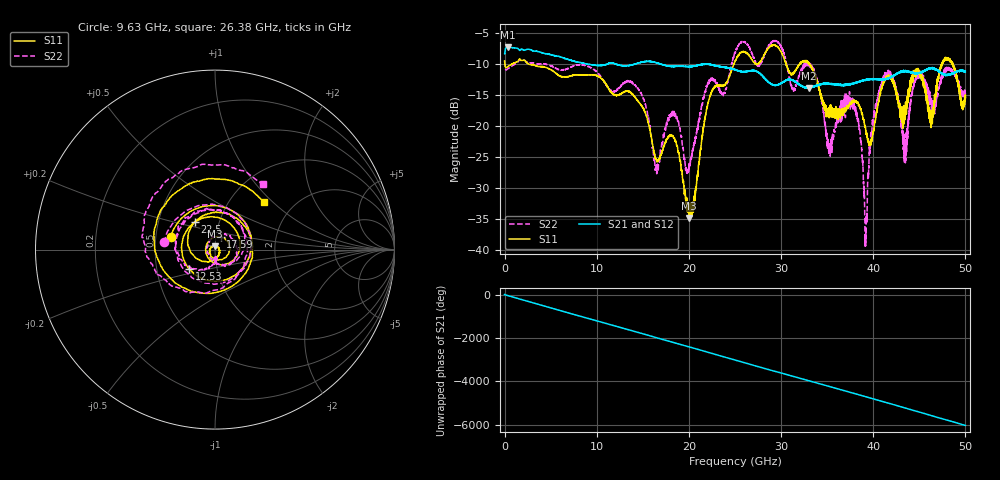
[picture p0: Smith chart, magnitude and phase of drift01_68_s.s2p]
!Created with skrf (http://scikit-rf.org).
# Hz S RI R 50.0
!freq ReS11 ImS11 ReS21 ImS21 ReS12 ImS12 ReS22 ImS22
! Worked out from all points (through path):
!   10001 points, 300 kHz to 50 GHz, reference 50 ohm
!   highest |S21| = -7.33 dB at 325.3 MHz (marker M1); lowest = -14.0 dB at 33.02 GHz (marker M2)
!   group delay of S21, straight-line fit = 335 ps
!   lowest |S11| = -34.9 dB at 20.01 GHz (marker M3), VSWR 1.04, Z = 50 + j1.81 ohm
!   |S11| at or under -10 dB: 2.555 GHz to 24.9 GHz (22.35 GHz wide, 163 % of centre); 30.53 GHz to 32.02 GHz (1.487 GHz wide, 4.76 % of centre); 33.07 GHz to 47.44 GHz (14.37 GHz wide, 35.7 % of centre) (the widest 3 of 21)
!   |S22| runs from -39.4 to -6.3 dB; largest |S21 - S12| = 0.011
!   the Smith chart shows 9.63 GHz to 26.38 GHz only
!   S11 on the Smith chart (normalised r, x): 9.63 GHz: 0.60, +0.09; 12.53 GHz: 0.73, -0.16; 17.59 GHz: 1.05, +0.15; 22.5 GHz: 0.76, +0.24; 26.38 GHz: 1.42, +0.88
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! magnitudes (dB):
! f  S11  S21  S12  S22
! 300 kHz  -9.5  -8.4  -8.5  -9.5
! 325.3 MHz  -10.5  -7.3  -7.3  -10.9
! 8.335 GHz  -11.8  -9.8  -9.8  -10.2
! 9.63 GHz  -11.8  -10.2  -10.2  -10.9
! 12.53 GHz  -14.9  -10.3  -10.2  -13.6
! 16.67 GHz  -25.7  -10.0  -9.9  -26.8
! 17.59 GHz  -22.2  -10.3  -10.3  -19.6
! 20.01 GHz  -34.9  -10.5  -10.5  -26.8
! 22.5 GHz  -14.4  -10.2  -10.2  -12.6
! 25 GHz  -9.6  -11.0  -11.0  -8.2
! 26.38 GHz  -8.4  -11.3  -11.3  -6.9
! 33.02 GHz  -9.9  -14.0  -13.8  -10.1
! 33.34 GHz  -10.7  -13.8  -13.8  -10.6
! 35.26 GHz  -18.0  -13.2  -13.2  -23.6
! 37.99 GHz  -16.0  -13.2  -13.1  -17.2
! 39.17 GHz  -20.5  -12.6  -12.6  -38.4
! 40.12 GHz  -20.0  -12.4  -12.4  -17.8
! 41.67 GHz  -11.9  -12.3  -12.3  -11.9
! 43.45 GHz  -17.7  -11.3  -11.3  -25.0
! 44.88 GHz  -11.0  -11.5  -11.5  -12.1
! 46.25 GHz  -19.3  -10.8  -10.8  -16.0
! 50 GHz  -15.5  -11.2  -11.3  -14.9
